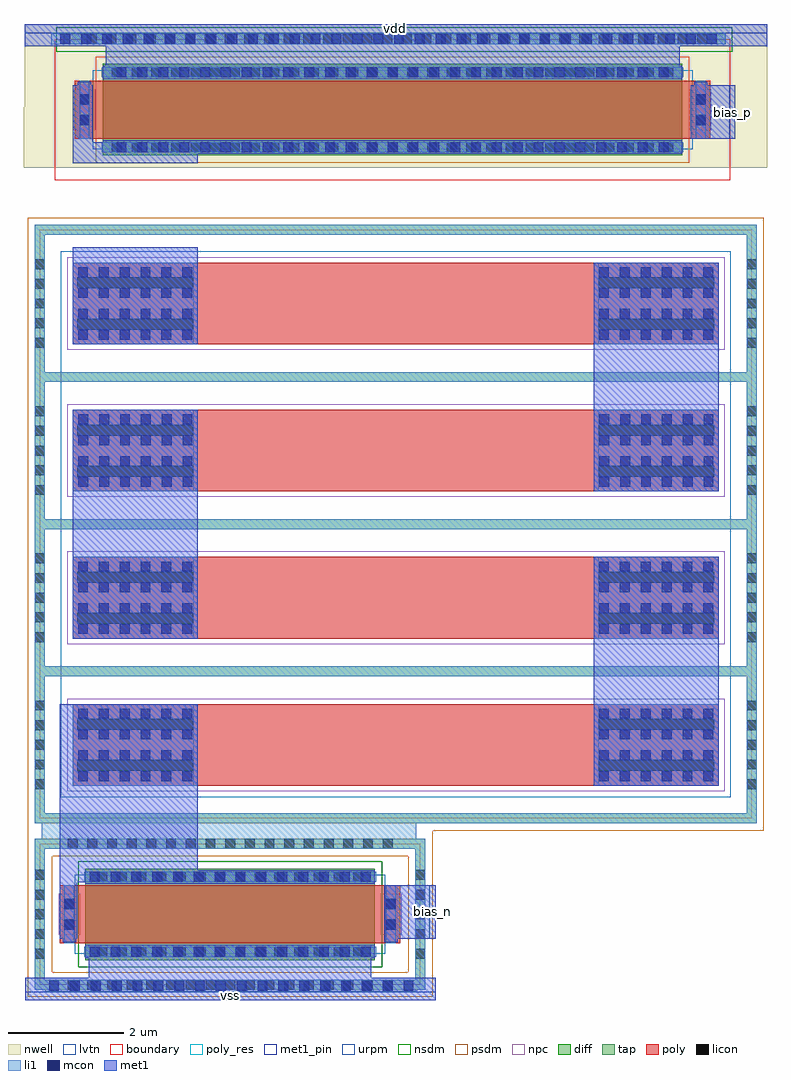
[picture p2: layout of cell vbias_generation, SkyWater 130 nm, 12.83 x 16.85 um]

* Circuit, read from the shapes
.subckt vbias_generation bias_n bias_p vdd vss
XM1 bias_n bias_n vss vss sky130_fd_pr__nfet_01v8_lvt w=5 l=1
XM2 vdd bias_p bias_p vdd sky130_fd_pr__pfet_01v8_lvt w=10 l=1
XR3 sky130_fd_pr__res_xhigh_po_1p41_UKZ7C9_0/R1 bias_n vss sky130_fd_pr__res_xhigh_po w=1.41 l=6.88
XR4 sky130_fd_pr__res_xhigh_po_1p41_UKZ7C9_0/R1 sky130_fd_pr__res_xhigh_po_1p41_UKZ7C9_2/R1 vss sky130_fd_pr__res_xhigh_po w=1.41 l=6.88
XR5 sky130_fd_pr__res_xhigh_po_1p41_UKZ7C9_3/R1 sky130_fd_pr__res_xhigh_po_1p41_UKZ7C9_2/R1 vss sky130_fd_pr__res_xhigh_po w=1.41 l=6.88
XR6 sky130_fd_pr__res_xhigh_po_1p41_UKZ7C9_3/R1 sky130_fd_pr__res_xhigh_po_1p41_UKZ7C9_3/R2 vss sky130_fd_pr__res_xhigh_po w=1.41 l=6.88
.ends

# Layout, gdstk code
from math import pi, radians
import gdstk
lib = gdstk.Library(unit=1e-6, precision=1e-09)
def R(c, l, rs):  # rectangles x0, y0, x1, y1
    for r in rs: c.add(gdstk.rectangle(r[:2], r[2:], *l))
def A(c, l, x, y, w, h, nx, ny, dx, dy):  # array of equal rectangles
    R(c, l, [(x+i*dx, y+j*dy, x+i*dx+w, y+j*dy+h) for i in range(nx) for j in range(ny)])
nwell = (64, 20)
diff = (65, 20)
tap = (65, 44)
poly_res = (66, 13)
poly = (66, 20)
licon = (66, 44)
li1 = (67, 20)
mcon = (67, 44)
met1_pin = (68, 16)
met1 = (68, 20)
urpm = (79, 20)
nsdm = (93, 44)
psdm = (94, 20)
npc = (95, 20)
lvtn = (125, 44)
boundary = (235, 4)

sky130_fd_pr__res_xhigh_ = lib.new_cell('sky130_fd_pr__res_xhigh_po_1p41_UKZ7C9')
R(sky130_fd_pr__res_xhigh_, tap, [(-1.355,-6.23,1.355,-6.06), (-1.355,-6.06,-1.185,6.06), (1.185,-6.06,1.355,6.06), (-1.355,6.06,1.355,6.23)])
R(sky130_fd_pr__res_xhigh_, poly_res, [(-0.705,-3.5,0.705,3.5)])
R(sky130_fd_pr__res_xhigh_, poly, [(-0.705,-5.58,0.705,5.58)])
A(sky130_fd_pr__res_xhigh_, licon, -0.765, -6.23, 0.17, 0.17, 5, 2, 0.34, 12.29)
R(sky130_fd_pr__res_xhigh_, licon, [(-0.45,-5.5,-0.26,-3.5), (0.26,-5.5,0.45,-3.5), (-0.45,3.5,-0.26,5.5), (0.26,3.5,0.45,5.5)])
R(sky130_fd_pr__res_xhigh_, li1, [(-1.355,-6.23,1.355,-6.06), (-1.355,-6.06,-1.185,6.06), (1.185,-6.06,1.355,6.06), (-0.705,-5.58,0.705,-3.42), (-0.705,3.42,0.705,5.58), (-1.355,6.06,1.355,6.23)])
A(sky130_fd_pr__res_xhigh_, mcon, -0.625, -5.485, 0.17, 0.17, 4, 6, 0.36, 0.36)
A(sky130_fd_pr__res_xhigh_, mcon, -0.625, 3.51, 0.17, 0.17, 4, 6, 0.36, 0.36)
R(sky130_fd_pr__res_xhigh_, met1, [(-0.655,-5.55,0.655,-3.445), (-0.655,3.445,0.655,5.55)])
R(sky130_fd_pr__res_xhigh_, urpm, [(-0.905,-5.78,0.905,5.78)])
R(sky130_fd_pr__res_xhigh_, psdm, [(-1.48,-6.355,1.48,6.355)])
R(sky130_fd_pr__res_xhigh_, npc, [(-0.8,-5.675,0.8,5.675)])
R(sky130_fd_pr__res_xhigh_, boundary, [(-1.27,-6.145,1.27,6.145)])
sky130_fd_pr__res_xhigh_.add(gdstk.Label('B', (0,-6.145), layer=67, texttype=5))
sky130_fd_pr__res_xhigh_.add(gdstk.Label('R1', (0,5.405), layer=67, texttype=5))
sky130_fd_pr__res_xhigh_.add(gdstk.Label('R2', (0,-5.405), layer=67, texttype=5))

sky130_fd_pr__pfet_01v8_ = lib.new_cell('sky130_fd_pr__pfet_01v8_lvt_VTBKAA')
R(sky130_fd_pr__pfet_01v8_, nwell, [(-1,-6.1,1.48,6.17)])
R(sky130_fd_pr__pfet_01v8_, diff, [(-0.79,-5,0.79,5)])
R(sky130_fd_pr__pfet_01v8_, tap, [(1.13,-5.74,1.3,5.68)])
R(sky130_fd_pr__pfet_01v8_, poly, [(-0.5,-5.485,0.5,5.485)])
A(sky130_fd_pr__pfet_01v8_, licon, 1.13, -5.43, 0.17, 0.17, 1, 32, 0, 0.34)
A(sky130_fd_pr__pfet_01v8_, licon, -0.73, -4.845, 0.17, 0.17, 1, 29, 0, 0.34)
A(sky130_fd_pr__pfet_01v8_, licon, 0.56, -4.845, 0.17, 0.17, 1, 29, 0, 0.34)
R(sky130_fd_pr__pfet_01v8_, licon, [(-0.255,-5.405,-0.085,-5.235), (0.085,-5.405,0.255,-5.235), (-0.255,5.235,-0.085,5.405), (0.085,5.235,0.255,5.405)])
R(sky130_fd_pr__pfet_01v8_, li1, [(1.13,-5.74,1.3,5.68), (-0.5,-5.405,0.5,-5.235), (-0.73,-5.02,-0.56,5.02), (0.56,-5.02,0.73,5.02), (-0.5,5.235,0.5,5.405)])
A(sky130_fd_pr__pfet_01v8_, mcon, -0.73, -4.765, 0.17, 0.17, 1, 27, 0, 0.36)
A(sky130_fd_pr__pfet_01v8_, mcon, 0.56, -4.765, 0.17, 0.17, 1, 27, 0, 0.36)
R(sky130_fd_pr__pfet_01v8_, mcon, [(-0.265,-5.405,-0.095,-5.235), (0.095,-5.405,0.265,-5.235), (-0.265,5.235,-0.095,5.405), (0.095,5.235,0.265,5.405)])
R(sky130_fd_pr__pfet_01v8_, met1, [(-0.48,-5.435,0.48,-5.205), (-0.76,-5,-0.53,5), (0.53,-5,0.76,5), (-0.48,5.205,0.48,5.435)])
R(sky130_fd_pr__pfet_01v8_, nsdm, [(1.005,-5.865,1.425,5.805)])
R(sky130_fd_pr__pfet_01v8_, psdm, [(-0.915,-5.125,0.915,5.125)])
R(sky130_fd_pr__pfet_01v8_, npc, [(-0.355,-5.505,0.355,-5.135), (-0.355,5.135,0.355,5.505)])
R(sky130_fd_pr__pfet_01v8_, lvtn, [(-0.68,-5.18,0.68,5.18)])
R(sky130_fd_pr__pfet_01v8_, boundary, [(-1.215,-5.83,1.215,5.83)])
sky130_fd_pr__pfet_01v8_.add(gdstk.Label('D', (-0.645,0), layer=67, texttype=5))
sky130_fd_pr__pfet_01v8_.add(gdstk.Label('S', (0.645,0), layer=67, texttype=5))
sky130_fd_pr__pfet_01v8_.add(gdstk.Label('G', (0,5.32), layer=67, texttype=5))

sky130_fd_pr__nfet_01v8_ = lib.new_cell('sky130_fd_pr__nfet_01v8_lvt_ELBHUY')
R(sky130_fd_pr__nfet_01v8_, diff, [(-0.79,-2.5,0.79,2.5)])
R(sky130_fd_pr__nfet_01v8_, tap, [(-1.3,-3.37,1.3,-3.2), (-1.3,-3.2,-1.13,3.2), (1.13,-3.2,1.3,3.2), (-1.3,3.2,1.3,3.37)])
R(sky130_fd_pr__nfet_01v8_, poly, [(-0.5,-2.94,0.5,2.94)])
A(sky130_fd_pr__nfet_01v8_, licon, -0.765, -3.37, 0.17, 0.17, 5, 2, 0.34, 6.57)
A(sky130_fd_pr__nfet_01v8_, licon, -1.3, -2.805, 0.17, 0.17, 1, 17, 0, 0.34)
A(sky130_fd_pr__nfet_01v8_, licon, 1.13, -2.805, 0.17, 0.17, 1, 17, 0, 0.34)
A(sky130_fd_pr__nfet_01v8_, licon, -0.73, -2.295, 0.17, 0.17, 1, 14, 0, 0.34)
A(sky130_fd_pr__nfet_01v8_, licon, 0.56, -2.295, 0.17, 0.17, 1, 14, 0, 0.34)
R(sky130_fd_pr__nfet_01v8_, licon, [(-0.255,-2.86,-0.085,-2.69), (0.085,-2.86,0.255,-2.69), (-0.255,2.69,-0.085,2.86), (0.085,2.69,0.255,2.86)])
R(sky130_fd_pr__nfet_01v8_, li1, [(-1.3,-3.37,1.3,-3.2), (-1.3,-3.2,-1.13,3.2), (1.13,-3.2,1.3,3.2), (-0.5,-2.86,0.5,-2.69), (-0.73,-2.52,-0.56,2.52), (0.56,-2.52,0.73,2.52), (-0.5,2.69,0.5,2.86), (-1.3,3.2,1.3,3.37)])
A(sky130_fd_pr__nfet_01v8_, mcon, -0.73, -2.425, 0.17, 0.17, 1, 14, 0, 0.36)
A(sky130_fd_pr__nfet_01v8_, mcon, 0.56, -2.425, 0.17, 0.17, 1, 14, 0, 0.36)
R(sky130_fd_pr__nfet_01v8_, mcon, [(-0.265,-2.86,-0.095,-2.69), (0.095,-2.86,0.265,-2.69), (-0.265,2.69,-0.095,2.86), (0.095,2.69,0.265,2.86)])
R(sky130_fd_pr__nfet_01v8_, met1, [(-0.48,-2.89,0.48,-2.66), (-0.76,-2.5,-0.53,2.5), (0.53,-2.5,0.76,2.5), (-0.48,2.66,0.48,2.89)])
R(sky130_fd_pr__nfet_01v8_, nsdm, [(-0.915,-2.625,0.915,2.625)])
R(sky130_fd_pr__nfet_01v8_, psdm, [(-1.425,-3.495,1.425,-3.075), (-1.425,-3.075,-1.005,3.075), (1.005,-3.075,1.425,3.075), (-1.425,3.075,1.425,3.495)])
R(sky130_fd_pr__nfet_01v8_, npc, [(-0.355,-2.96,0.355,-2.59), (-0.355,2.59,0.355,2.96)])
R(sky130_fd_pr__nfet_01v8_, lvtn, [(-0.68,-2.68,0.68,2.68)])
R(sky130_fd_pr__nfet_01v8_, boundary, [(-1.215,-3.285,1.215,3.285)])
sky130_fd_pr__nfet_01v8_.add(gdstk.Label('B', (0,-3.285), layer=67, texttype=5))
sky130_fd_pr__nfet_01v8_.add(gdstk.Label('D', (-0.645,0), layer=67, texttype=5))
sky130_fd_pr__nfet_01v8_.add(gdstk.Label('S', (0.645,0), layer=67, texttype=5))
sky130_fd_pr__nfet_01v8_.add(gdstk.Label('G', (0,2.775), layer=67, texttype=5))

vbias_generation = lib.new_cell('vbias_generation')
R(vbias_generation, nwell, [(-1.43,19.18,-1.21,19.19), (11.03,19.18,11.4,19.19), (-1.43,19.19,11.4,20.22), (-1.42,20.22,11.4,21.66)])
R(vbias_generation, li1, [(-1.06,4.95,5.36,5.16), (-1.12,7.48,5.34,7.98), (-0.96,21.31,10.69,21.5)])
A(vbias_generation, mcon, -0.995, 4.97, 0.17, 0.17, 18, 1, 0.36, 0)
A(vbias_generation, mcon, -0.8, 21.32, 0.17, 0.17, 32, 1, 0.36, 0)
R(vbias_generation, met1_pin, [(-1.41,4.81,5.68,4.95), (5.57,5.87,5.68,6.79), (10.75,19.68,10.85,20.6), (-1.42,21.5,11.4,21.66)])
R(vbias_generation, met1, [(-1.41,4.81,5.68,5.19), (-0.31,5.19,4.57,5.76), (-0.81,5.87,-0.51,6.84), (4.79,5.87,5.68,6.79), (-0.81,6.84,1.57,9.92), (8.41,8.51,10.57,12.46), (-0.59,11.05,1.57,15), (8.41,13.59,10.57,17.54), (-0.59,16.13,1.57,17.81), (-0.59,19.26,1.57,19.62), (-0.59,19.62,-0.24,20.6), (10.08,19.68,10.85,20.6), (-0.02,20.71,9.89,21.28), (-1.42,21.28,11.4,21.66)])
A(vbias_generation, urpm, -0.79, 10.12, 11.56, 0.73, 1, 3, 0, 2.54)
R(vbias_generation, psdm, [(-1.365,7.715,5.625,7.735)])
vbias_generation.add(gdstk.Reference(sky130_fd_pr__res_xhigh_, (4.99,9.215), rotation=3*pi/2))
vbias_generation.add(gdstk.Reference(sky130_fd_pr__res_xhigh_, (4.99,11.755), rotation=3*pi/2))
vbias_generation.add(gdstk.Reference(sky130_fd_pr__res_xhigh_, (4.99,14.295), rotation=pi/2))
vbias_generation.add(gdstk.Reference(sky130_fd_pr__res_xhigh_, (4.99,16.835), rotation=3*pi/2))
vbias_generation.add(gdstk.Reference(sky130_fd_pr__pfet_01v8_, (4.935,20.18), rotation=pi/2))
vbias_generation.add(gdstk.Reference(sky130_fd_pr__nfet_01v8_, (2.13,6.29), rotation=3*pi/2))
vbias_generation.add(gdstk.Label('bias_n', (5.625,6.33), layer=68, texttype=5))
vbias_generation.add(gdstk.Label('bias_p', (10.8,20.14), layer=68, texttype=5))
vbias_generation.add(gdstk.Label('vdd', (4.99,21.58), layer=68, texttype=5))
vbias_generation.add(gdstk.Label('vss', (2.135,4.88), layer=68, texttype=5))

lib.write_gds('vbias_generation.gds')
